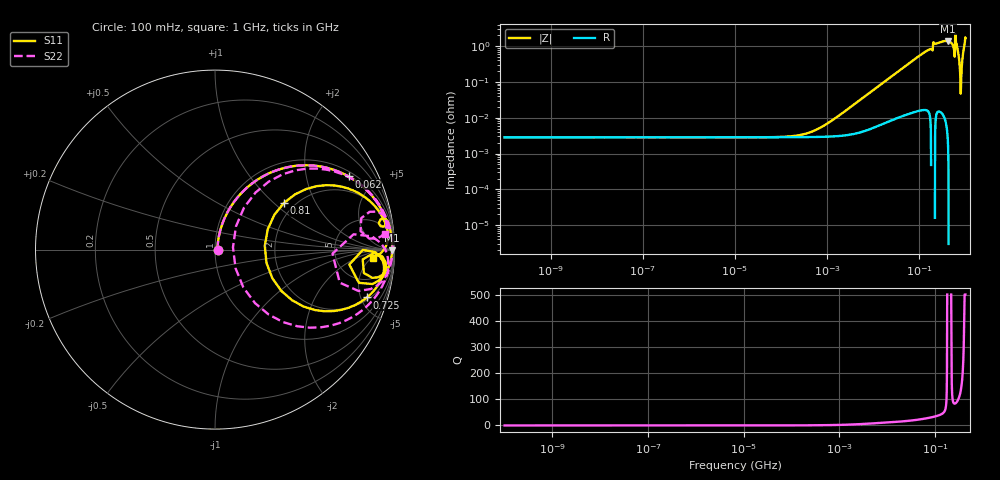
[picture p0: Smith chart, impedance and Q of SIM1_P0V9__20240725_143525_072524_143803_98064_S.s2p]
! SPDX-FileCopyrightText: Copyright (c) Meta Platforms, Inc. and affiliates.
! SPDX-FileCopyrightText: © 2024 Rivos Inc.
!Generated from: C:\SIPIProj\Olympus\Xtract\Run_20240725_143525\SimFile\SIM1_P0V9__20240725_143525.spd
! Port_1::P0V9
! Port_2::P0V9
!Layout Workbench Version: 23.1.2.10131.459628  200
!Computer Host Name: YANSHENG-LT
!TouchstoneFormatFlag = 1
! GNDNET GND
! NETSLIST P0V9
! Port 1 = U1-K8 P0V9
! Port 2 = PL11-2 P0V9
#	Hz	S	RI	R	0.1
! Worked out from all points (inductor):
!   625 points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, 100 mHz to 1 GHz, reference 0.1 ohm
!   read as one part in series: L = 978 pH near 1.585 MHz
!   highest Q = 783 at 420 MHz (marker M1), where L = 527 pH
!   self-resonance near 794.7 MHz
!   S11 on the Smith chart (normalised r, x): 100 mHz: 1.03, +0.00; 62 MHz: 1.21, +3.53; 725 MHz: 2.25, -5.63; 810 MHz: 1.76, +1.17; 1 GHz: 13, -6
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0.1  0.014 3.17e-09  0.986 -3.22e-09  0.986 -3.22e-09  0.014 3.18e-09
1584893  0.0173 0.047  0.9827 -0.0475  0.9827 -0.0475  0.0173 0.047
3630781  0.0286 0.105  0.9714 -0.1061  0.9714 -0.1061  0.0286 0.105
1.28e7  0.1431 0.3109  0.8569 -0.3148  0.8569 -0.3148  0.1432 0.311
3.04e7  0.4344 0.4645  0.5653 -0.4738  0.5653 -0.4738  0.4349 0.4646
6.2e7  0.745 0.4073  0.2541 -0.4261  0.2541 -0.4261  0.7463 0.4065
1.68e8  0.9502 0.1687  0.0429 -0.2328  0.0429 -0.2328  0.9531 0.1536
1.9e8  0.9433 0.1305  0.00756 -0.2406  0.00756 -0.2406  0.9264 0.0745
2.04e8  0.9598 0.1608  0.011 -0.1502  0.011 -0.1502  0.9236 0.2022
3.34e8  0.9857 0.0447  0.00776 -0.1437  0.00776 -0.1437  0.9869 0.0454
4.2e8  0.9867 -0.00387  -0.00068 -0.1429  -0.00068 -0.1429  0.9884 -0.00809
5.05e8  0.9797 -0.0599  -0.0132 -0.1638  -0.0132 -0.1638  0.9807 -0.0732
5.75e8  0.9103 -0.1541  -0.1038 -0.2474  -0.1038 -0.2474  0.8672 -0.2197
6.15e8  0.9497 -0.1197  -0.034 -0.1161  -0.034 -0.1161  0.9582 -0.0241
6.7e8  0.9419 -0.1048  -0.0466 -0.2154  -0.0466 -0.2154  0.9439 -0.1783
7.25e8  0.8463 -0.2666  -0.1642 -0.3458  -0.1642 -0.3458  0.8181 -0.34
7.7e8  0.4941 -0.3174  -0.5579 -0.3868  -0.5579 -0.3868  0.3807 -0.4044
7.9e8  0.2866 -0.0734  -0.7932 -0.1093  -0.7932 -0.1093  0.1145 -0.1039
8.1e8  0.3845 0.2602  -0.689 0.2722  -0.689 0.2722  0.2257 0.3177
8.35e8  0.6655 0.3572  -0.3769 0.3943  -0.3769 0.3943  0.5724 0.4513
8.9e8  0.9032 0.2269  -0.1098 0.2753  -0.1098 0.2753  0.8724 0.3068
1e9  0.8787 -0.0472  -0.0716 0.0793  -0.0716 0.0793  0.9471 0.0886
